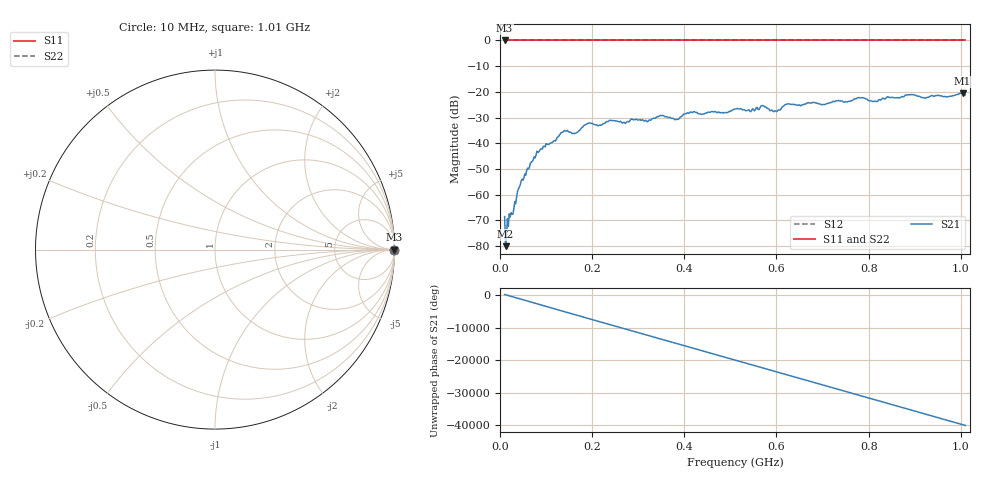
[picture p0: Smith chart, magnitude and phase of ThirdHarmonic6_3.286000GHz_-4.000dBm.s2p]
! 8/17/2025 10:12:17 AM
! C:\ANRITSUVNA\TEMP\TEMP.S2P
! CHANNEL.1
! TR.MEASUREMENT
! RAW.DATA
! RF.CORRECTION.OFF
! AVERAGING.OFF
! IF.BANDWIDTH: 5KHZ
! SWEEPTYPE:  FREQ.SWEEP(Linear)
! Reference Plane Port Info
! PORT:  PORT1  PORT2
! DISTANCE:  0  m  0  m
! TIME:  0  s  0  s
! PHASE.OFFSET:  0  deg.  0  deg.
! LOSS:  0  dB  0  dB
! REF.LOSS:  0  dB  0  dB
! REF.FREQ:  0  Hz  0  Hz
! Power Info
! POWER:  -20  dBm  -20  dBm
! EFF.POWER:  -20  dBm  -20  dBm
! SOURCE.ATTEN:  0  dB  0  dB
! TEST.ATTEN:  0  dB  0  dB
# GHZ S RI R 50.0
! FREQ.GHZ  S11RE  S11IM  S21RE  S21IM  S12RE  S12IM  S22RE  S22IM
!; PortSelection: Port_12
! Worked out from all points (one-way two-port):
!   501 points, 10 MHz to 1.01 GHz, reference 50 ohm
!   highest |S21| = -20.48 dB at 1.004 GHz (marker M1); lowest = -80.0 dB at 12 MHz (marker M2)
!   lowest |S11| = 0.0 dB at 10 MHz (marker M3)
!   |S11| at or under -10 dB: nowhere
!   |S22| runs from 0.0 to 0.0 dB; largest |S21 - S12| = 1.1
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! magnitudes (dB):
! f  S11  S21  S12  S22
! 10 MHz  0.0  -68.5  0.0  0.0
! 12 MHz  0.0  -80.0  0.0  0.0
! 16 MHz  0.0  -69.4  0.0  0.0
! 20 MHz  0.0  -67.5  0.0  0.0
! 30 MHz  0.0  -65.5  0.0  0.0
! 44 MHz  0.0  -56.1  0.0  0.0
! 84 MHz  0.0  -43.4  0.0  0.0
! 136 MHz  0.0  -35.7  0.0  0.0
! 162 MHz  0.0  -36.2  0.0  0.0
! 178 MHz  0.0  -33.8  0.0  0.0
! 192 MHz  0.0  -32.3  0.0  0.0
! 344 MHz  0.0  -29.6  0.0  0.0
! 384 MHz  0.0  -30.6  0.0  0.0
! 416 MHz  0.0  -28.0  0.0  0.0
! 510 MHz  0.0  -26.7  0.0  0.0
! 570 MHz  0.0  -25.3  0.0  0.0
! 598 MHz  0.0  -27.5  0.0  0.0
! 622 MHz  0.0  -24.8  0.0  0.0
! 678 MHz  0.0  -24.1  0.0  0.0
! 844 MHz  0.0  -22.1  0.0  0.0
! 1.004 GHz  0.0  -20.5  0.0  0.0
! 1.01 GHz  0.0  -21.2  0.0  0.0
